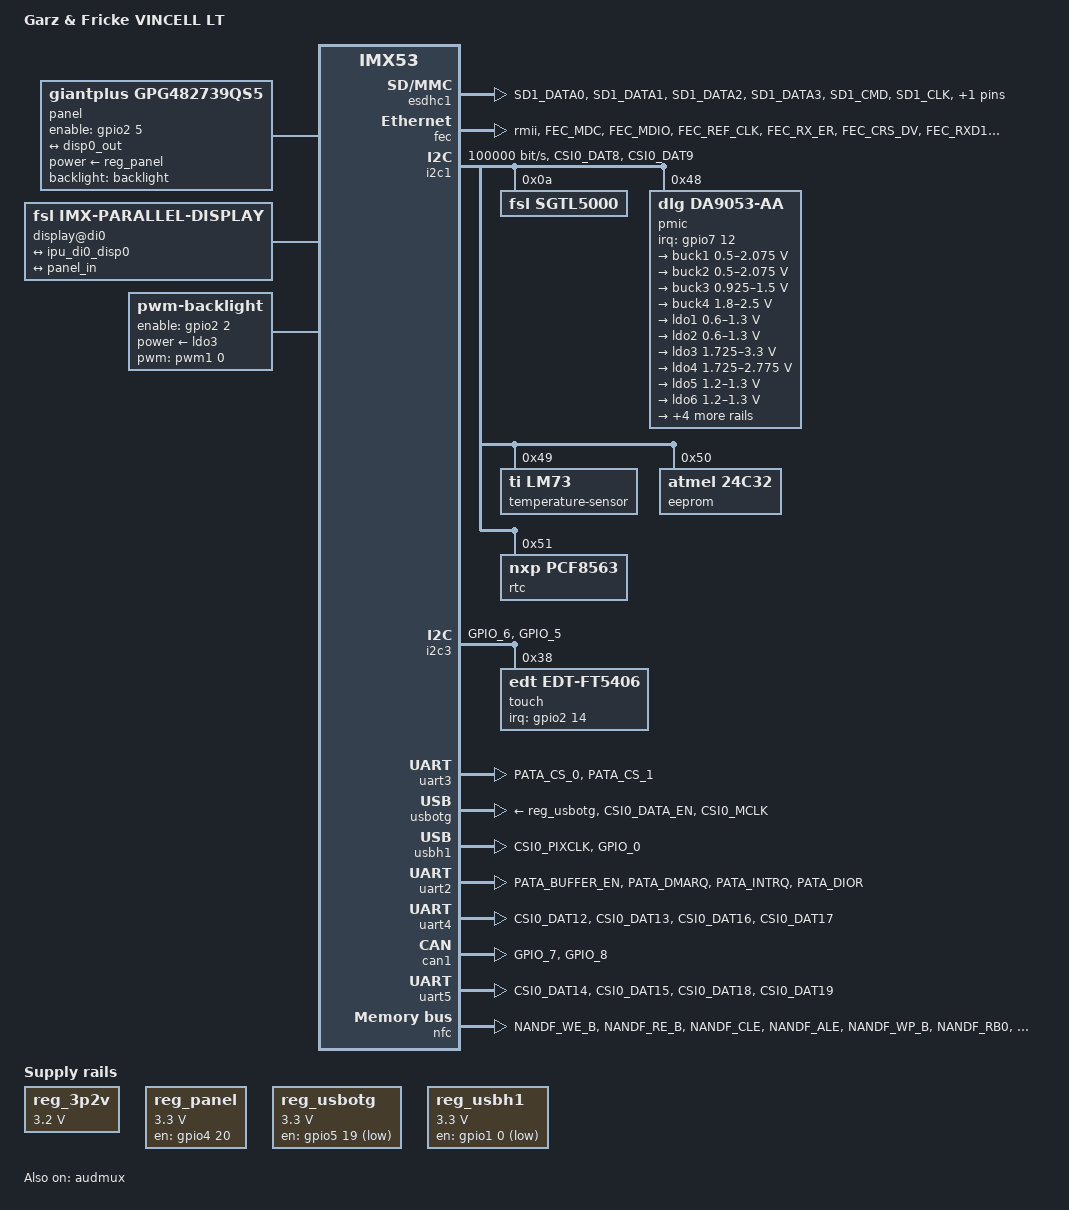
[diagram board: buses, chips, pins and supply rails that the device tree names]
/*
 * Copyright 2012 Pengutronix
 * Copyright 2011 Freescale Semiconductor, Inc.
 * Copyright 2011 Linaro Ltd.
 *
 * The code contained herein is licensed under the GNU General Public
 * License. You may obtain a copy of the GNU General Public License
 * Version 2 or later at the following locations:
 *
 * http://www.opensource.org/licenses/gpl-license.html
 * http://www.gnu.org/copyleft/gpl.html
 */

/dts-v1/;
#include "imx53.dtsi"
#include <arm/imx53.dtsi>
#include <dt-bindings/gpio/gpio.h>
#include <dt-bindings/interrupt-controller/irq.h>

/ {
	model = "Garz & Fricke VINCELL LT";
	compatible = "guf,imx53-vincell-lt", "fsl,imx53";

	chosen {
		stdout-path = &uart2;

		environment {
			compatible = "barebox,environment";
			device-path = &bareboxenv;
		};
	};

	clocks {
		ckih1 {
			clock-frequency = <0>;
		};
	};

	panel: panel {
		compatible = "giantplus,gpg482739qs5", "simple-panel";
		power-supply = <&reg_panel>;
		enable-gpios = <&gpio2 5 GPIO_ACTIVE_HIGH>;
		backlight = <&backlight>;

		port {
			panel_in: endpoint {
				remote-endpoint = <&disp0_out>;
			};
		};
	};

	display@di0 {
		compatible = "fsl,imx-parallel-display";
		pinctrl-names = "default";
		pinctrl-0 = <&pinctrl_disp0>;
		crtcs = <&ipu 0>;
		interface-pix-fmt = "bgr24";
		status = "okay";
		fsl,panel = <&panel>;

		port@0 {
			disp0_in: endpoint {
				remote-endpoint = <&ipu_di0_disp0>;
			};
		};

		port@1 {
			disp0_out: endpoint {
				remote-endpoint = <&panel_in>;
			};
		};
	};

	backlight: backlight {
		compatible = "pwm-backlight";
		pwms = <&pwm1 0 50000>;
		brightness-levels = <0 4 8 16 32 64 128 255>;
		default-brightness-level = <6>;
		power-supply = <&ldo3>;
		enable-gpios = <&gpio2 2 GPIO_ACTIVE_HIGH>;
		backlight-boot-off;
	};

	regulators {
		compatible = "simple-bus";

		reg_3p2v: 3p2v {
			compatible = "regulator-fixed";
			regulator-name = "3P2V";
			regulator-min-microvolt = <3200000>;
			regulator-max-microvolt = <3200000>;
			regulator-always-on;
		};

		reg_panel: vdd-panel {
			compatible = "regulator-fixed";
			regulator-name = "VDD_PANEL";
			regulator-min-microvolt = <3300000>;
			regulator-max-microvolt = <3300000>;
			gpio = <&gpio4 20 GPIO_ACTIVE_HIGH>;
			enable-active-high;
		};

		reg_usbotg: vbus-otg {
			compatible = "regulator-fixed";
			regulator-name = "VBUS_OTG";
			regulator-min-microvolt = <3300000>;
			regulator-max-microvolt = <3300000>;
			gpio = <&gpio5 19 GPIO_ACTIVE_HIGH>;
		};

		reg_usbh1: vbus-h1 {
			compatible = "regulator-fixed";
			regulator-name = "VBUS_H1";
			regulator-min-microvolt = <3300000>;
			regulator-max-microvolt = <3300000>;
			gpio = <&gpio1 0 GPIO_ACTIVE_LOW>;
		};
	};
};

&audmux {
	pinctrl-names = "default";
	pinctrl-0 = <&pinctrl_audmux>;
	status = "okay";
};

&esdhc1 {
	pinctrl-names = "default";
	pinctrl-0 = <&pinctrl_esdhc1>;
	cd-gpios = <&gpio2 6 GPIO_ACTIVE_HIGH>;
	status = "okay";
};

&fec {
	pinctrl-names = "default";
	pinctrl-0 = <&pinctrl_fec>;
	phy-mode = "rmii";
	phy-reset-gpios = <&gpio7 6 GPIO_ACTIVE_HIGH>;
	status = "okay";
};

&i2c1 {
	pinctrl-names = "default";
	pinctrl-0 = <&pinctrl_i2c1>;
	bitrate = <100000>;
	status = "okay";

	sgtl5000: codec@0a {
		compatible = "fsl,sgtl5000";
		reg = <0x0a>;
	};

	pmic: dialog@48 { /* DA9053-3HHA1 PMIC */
		compatible = "dlg,da9053-aa", "dlg,da9052";
		reg = <0x48>;
		interrupt-parent = <&gpio7>;
		interrupts = <12 IRQ_TYPE_LEVEL_LOW>;

		regulators {
			buck1 { /* CORE */
				regulator-min-microvolt = <500000>;
				regulator-max-microvolt = <2075000>;
				regulator-always-on;
				regulator-boot-on;
			};

			buck2 { /* PRO */
				regulator-min-microvolt = <500000>;
				regulator-max-microvolt = <2075000>;
				regulator-always-on;
				regulator-boot-on;
			};

			buck3 { /* MEM */
				regulator-min-microvolt = <925000>;
				regulator-max-microvolt = <1500000>;
				regulator-always-on;
				regulator-boot-on;
			};

			buck4 { /* PERI */
				regulator-min-microvolt = <1800000>;
				regulator-max-microvolt = <2500000>;
				regulator-always-on;
				regulator-boot-on;
			};

			ldo1 {
				regulator-min-microvolt = <600000>;
				regulator-max-microvolt = <1300000>;
				regulator-always-on;
				regulator-boot-on;
			};

			ldo2 {
				regulator-min-microvolt = <600000>;
				regulator-max-microvolt = <1300000>;
				regulator-always-on;
				regulator-boot-on;
			};

			ldo3: ldo3 {
				regulator-min-microvolt = <1725000>;
				regulator-max-microvolt = <3300000>;
				regulator-always-on;
				regulator-boot-on;
			};

			ldo4 {
				regulator-min-microvolt = <1725000>;
				regulator-max-microvolt = <2775000>;
				regulator-always-on;
				regulator-boot-on;
			};

			ldo5 {
				regulator-min-microvolt = <1200000>;
				regulator-max-microvolt = <1300000>;
				regulator-always-on;
				regulator-boot-on;
			};

			ldo6 {
				regulator-min-microvolt = <1200000>;
				regulator-max-microvolt = <1300000>;
				regulator-always-on;
				regulator-boot-on;
			};

			ldo7 {
				regulator-min-microvolt = <1200000>;
				regulator-max-microvolt = <2750000>;
				regulator-always-on;
				regulator-boot-on;
			};

			ldo8 {
				regulator-min-microvolt = <1200000>;
				regulator-max-microvolt = <1800000>;
				regulator-always-on;
				regulator-boot-on;
			};

			ldo9 {
				regulator-min-microvolt = <1250000>;
				regulator-max-microvolt = <1500000>;
				regulator-always-on;
				regulator-boot-on;
			};

			ldo10 {
				regulator-min-microvolt = <1200000>;
				regulator-max-microvolt = <1300000>;
				regulator-always-on;
				regulator-boot-on;
			};
		};
	};

	temperature-sensor@49 {
		compatible = "ti,lm73";
		reg = <0x49>;
	};

	eeprom@50 {
		compatible = "atmel,24c32", "st,m24c32";
		reg = <0x50>;
		pagesize = <1>;
		status = "okay";
	};

	rtc: nxp@51 {
		compatible = "nxp,pcf8563";
		reg = <0x51>;
	};
};

&i2c2 {
	pinctrl-names = "default";
	pinctrl-0 = <&pinctrl_i2c2>;
	bitrate = <100000>;
	status = "disabled";
};

&i2c3 {
	pinctrl-names = "default";
	pinctrl-0 = <&pinctrl_i2c3>;
	status = "okay";

	touch: edt-ft5x06@38 {
		compatible = "edt,edt-ft5406", "edt,edt-ft5x06";
		reg = <0x38>;
		interrupt-parent = <&gpio2>;
		interrupts = <14 0>;
	};
};

&ipu_di0_disp0 {
	remote-endpoint = <&disp0_in>;
};

/* RS485 --> X39 [13..14] */
&uart3 {
	pinctrl-names = "default";
	pinctrl-0 = <&pinctrl_uart3>;
	/* RTS via GPIO */
	fsl,uart-has-rtscts;
	rs485-enabled;
	gpio = <&gpio7 7 GPIO_ACTIVE_HIGH>;
	status = "okay";
};

&usbotg {
	pinctrl-names = "default";
	pinctrl-0 = <&pinctrl_usbotg>;
	vbus-supply = <&reg_usbotg>;
	status = "okay";
};

&usbh1 {
	pinctrl-names = "default";
	pinctrl-0 = <&pinctrl_usbh1>;
	status = "okay";
};

/* Serial debug console --> X39 [2..5] */
&uart2 {
	pinctrl-names = "default";
	pinctrl-0 = <&pinctrl_uart2>;
	status = "okay";
};

/* Serial debug console --> X11 [5..7] */
&uart4 {
	pinctrl-names = "default";
	pinctrl-0 = <&pinctrl_uart4>;
	status = "okay";
};

&can1 {
	pinctrl-names = "default";
	pinctrl-0 = <&pinctrl_can1>;
	status = "okay";
};

&uart5 {
	pinctrl-names = "default";
	pinctrl-0 = <&pinctrl_uart5>;
	status = "okay";
};

&nfc {
	#address-cells = <1>;
	#size-cells = <1>;
	pinctrl-names = "default";
	pinctrl-0 = <&pinctrl_nand>;
	nand-bus-width = <8>;
	nand-ecc-mode = "hw";
	nand-on-flash-bbt;
	status = "okay";

	partition@0 {
		label = "barebox";
		reg = <0x0 0xe0000>;
	};

	bareboxenv: partition@e0000 {
		label = "barebox-environment";
		reg = <0xe0000 0x20000>;
	};

	partition@100000 {
		label = "ubi";
		reg = <0x100000 0x0>;
	};
};

&iomuxc {
	pinctrl-names = "default";
	pinctrl-0 = <&pinctrl_hog>;

	imx53-vincell-lt {
		pinctrl_can1: can1grp {
			fsl,pins = <
				MX53_PAD_GPIO_7__CAN1_TXCAN		0x00000000
				MX53_PAD_GPIO_8__CAN1_RXCAN		0x000001c4
			>;
		};

		pinctrl_hog: hoggrp {
			fsl,pins = <
				MX53_PAD_EIM_A25__EMI_WEIM_A_25 	0x000000e4
				MX53_PAD_EIM_A22__EMI_WEIM_A_22 	0x000000e4
				MX53_PAD_EIM_D16__EMI_WEIM_D_16 	0x000000a4
				MX53_PAD_EIM_D17__EMI_WEIM_D_17 	0x000000a4
				MX53_PAD_EIM_D18__EMI_WEIM_D_18 	0x000000a4
				MX53_PAD_EIM_D19__EMI_WEIM_D_19 	0x000000a4
				MX53_PAD_EIM_D20__EMI_WEIM_D_20 	0x000000a4
				MX53_PAD_EIM_D21__EMI_WEIM_D_21 	0x000000a4
				MX53_PAD_EIM_D22__EMI_WEIM_D_22 	0x000000a4
				MX53_PAD_EIM_D23__EMI_WEIM_D_23 	0x000000a4
				MX53_PAD_EIM_D24__EMI_WEIM_D_24 	0x000000a4
				MX53_PAD_EIM_D25__EMI_WEIM_D_25 	0x000000a4
				MX53_PAD_EIM_D26__EMI_WEIM_D_26 	0x000000a4
				MX53_PAD_EIM_D27__EMI_WEIM_D_27 	0x000000a4
				MX53_PAD_EIM_D28__EMI_WEIM_D_28 	0x000000a4
				MX53_PAD_EIM_D29__EMI_WEIM_D_29 	0x000000a4
				MX53_PAD_EIM_D30__EMI_WEIM_D_30 	0x000000a4
				MX53_PAD_EIM_D31__EMI_WEIM_D_31 	0x000000a4
				MX53_PAD_EIM_A24__EMI_WEIM_A_24 	0x000001e4
				MX53_PAD_EIM_A23__EMI_WEIM_A_23 	0x000001e4
				MX53_PAD_EIM_A22__EMI_WEIM_A_22 	0x000000e4
				MX53_PAD_EIM_A21__EMI_WEIM_A_21 	0x000000e4
				MX53_PAD_EIM_A20__EMI_WEIM_A_20 	0x000000a4
				MX53_PAD_EIM_A19__EMI_WEIM_A_19 	0x000000a4
				MX53_PAD_EIM_A18__EMI_WEIM_A_18 	0x000000a4
				MX53_PAD_EIM_A17__EMI_WEIM_A_17 	0x000000a4
				MX53_PAD_EIM_A16__EMI_WEIM_A_16 	0x000000a4
				MX53_PAD_EIM_CS0__EMI_WEIM_CS_0 	0x000000a4
				MX53_PAD_EIM_CS1__EMI_WEIM_CS_1 	0x000000e4
				MX53_PAD_EIM_OE__EMI_WEIM_OE		0x000000a4
				MX53_PAD_EIM_RW__EMI_WEIM_RW		0x000000a4
				MX53_PAD_EIM_LBA__EMI_WEIM_LBA		0x000000e4
				MX53_PAD_EIM_EB0__EMI_WEIM_EB_0 	0x000000a4
				MX53_PAD_EIM_EB1__EMI_WEIM_EB_1 	0x000000a4
				MX53_PAD_EIM_EB2__EMI_WEIM_EB_2 	0x000001e4
				MX53_PAD_EIM_EB3__EMI_WEIM_EB_3 	0x000001e4
				MX53_PAD_EIM_WAIT__EMI_WEIM_WAIT	0x000000e0
				MX53_PAD_LVDS0_TX3_P__GPIO7_22		0x80000000
				MX53_PAD_LVDS0_CLK_P__GPIO7_24		0x80000000
				MX53_PAD_LVDS0_TX2_P__GPIO7_26		0x80000000
				MX53_PAD_LVDS0_TX1_P__GPIO7_28		0x80000000
				MX53_PAD_LVDS0_TX0_P__GPIO7_30		0x80000000
				MX53_PAD_GPIO_1__GPIO1_1		0x000001c4
				MX53_PAD_GPIO_2__GPIO1_2		0x000001c4
				MX53_PAD_GPIO_10__GPIO4_0		0x000005e5
				MX53_PAD_GPIO_11__GPIO4_1		0x000005c5
				MX53_PAD_GPIO_12__GPIO4_2		0x000005e5
				MX53_PAD_GPIO_13__GPIO4_3		0x000005e5
				MX53_PAD_GPIO_14__GPIO4_4		0x000005e5
				MX53_PAD_GPIO_16__GPIO7_11		0x000001c4
				MX53_PAD_KEY_ROW2__GPIO4_11		0x000001e4
				MX53_PAD_PATA_DATA8__GPIO2_8		0x000001e4
				MX53_PAD_PATA_DATA12__PATA_DATA_12	0x000001e4
				MX53_PAD_PATA_DA_0__PATA_DA_0		0x000001e4

				/* UART5: MDB --> X39 [2..5] (shared with RS232) */
				MX53_PAD_PATA_DATA9__GPIO2_9		0x00000000	/* MDB_WAKEUP_OUT */

				/* UART3: RS485 --> X39 */
				MX53_PAD_PATA_DA_1__GPIO7_7		0x00000000	/* RS485_TX_EN */

				MX53_PAD_PATA_DATA4__GPIO2_4		0x00000000	/* FEC_nINT */

				/* LCD panel */
				MX53_PAD_DI0_PIN4__GPIO4_20		0x000004c4	/* lcd power */
				MX53_PAD_PATA_DATA2__GPIO2_2		0x00000000	/* backlight power */
				MX53_PAD_PATA_DATA5__GPIO2_5		0x00000020	/* lcd enable */
				MX53_PAD_GPIO_9__PWM1_PWMO		0x00000000	/* LCD backlight PWM1 out */

				/* ESDHC1 */
				MX53_PAD_PATA_DATA6__GPIO2_6		0x00000000	/* ESDHC1 CD */

				/* I2C system bus */
				/* MX53_PAD_CSI0_DAT8__GPIO5_26		0x00000000 */
				/* MX53_PAD_CSI0_DAT9__GPIO5_27	*/

				/* I2C external touch interface, disabled */
				/* MX53_PAD_GPIO_5__GPIO1_50x80000000 */
				/* MX53_PAD_GPIO_6__GPIO1_60x80000000 */

				/* External Touch */
				MX53_PAD_PATA_DATA13__GPIO2_13		0x00000000	/* TOUCH_RESET */
				MX53_PAD_PATA_DATA14__GPIO2_14		0x00000000	/* TOUCH_INT */
				MX53_PAD_PATA_DATA15__GPIO2_15		0x00000000	/* TOUCH_WAKE */

				/* Audio */
				MX53_PAD_PATA_DATA7__GPIO2_7 		0x00000000	/* Speaker on */

				/* Clockout for external USB-phy and audiocodec */
				MX53_PAD_GPIO_3__CCM_CLKO2 		0x00000000

				/* GPIOs on keypad connector (X21) */
				MX53_PAD_CSI0_DAT11__GPIO5_29		0x00000000	/* Pin 3 */
				MX53_PAD_PATA_DIOW__GPIO6_17		0x00000000	/* Pin 4 */
				MX53_PAD_SD2_CMD__GPIO1_11		0x00000000	/* Pin 5 */
				MX53_PAD_PATA_DMACK__GPIO6_18		0x00000000	/* Pin 6 */
				MX53_PAD_CSI0_DAT7__GPIO5_25		0x00000000	/* Pin 7 */
				MX53_PAD_GPIO_4__GPIO1_4		0x00000000	/* Pin 8 */
				MX53_PAD_KEY_ROW4__GPIO4_15		0x00000000	/* Pin 9 */
				MX53_PAD_KEY_COL4__GPIO4_14		0x00000000	/* Pin 10 */
				MX53_PAD_KEY_ROW3__GPIO4_13		0x00000000	/* Pin 11 */
				MX53_PAD_KEY_COL3__GPIO4_12		0x00000000	/* Pin 12 */
				MX53_PAD_GPIO_19__GPIO4_5		0x00000000	/* Pin 13 */
				MX53_PAD_KEY_COL2__GPIO4_10		0x00000000	/* Pin 14 */
				MX53_PAD_KEY_COL1__GPIO4_8		0x00000000	/* Pin 15 */
				MX53_PAD_KEY_ROW0__GPIO4_7		0x00000000	/* Pin 16 */
				MX53_PAD_KEY_COL0__GPIO4_6		0x00000000	/* Pin 17 */
				MX53_PAD_KEY_ROW1__GPIO4_9		0x00000000	/* Pin 18 */

				MX53_PAD_GPIO_17__GPIO7_12		0x000000e0	/* PMIC_nIRQ, 100 KOhm pull up */
			>;
		};

		pinctrl_disp0: disp0grp {
			fsl,pins = <
				MX53_PAD_DI0_DISP_CLK__IPU_DI0_DISP_CLK	0x000004c1
				MX53_PAD_DI0_PIN15__IPU_DI0_PIN15	0x000004c1
				MX53_PAD_DI0_PIN2__IPU_DI0_PIN2		0x000004c5
				MX53_PAD_DI0_PIN3__IPU_DI0_PIN3		0x000004c5
				MX53_PAD_DISP0_DAT0__IPU_DISP0_DAT_0	0x000004c3
				MX53_PAD_DISP0_DAT1__IPU_DISP0_DAT_1	0x000004c3
				MX53_PAD_DISP0_DAT2__IPU_DISP0_DAT_2	0x000004c3
				MX53_PAD_DISP0_DAT3__IPU_DISP0_DAT_3	0x000004c3
				MX53_PAD_DISP0_DAT4__IPU_DISP0_DAT_4	0x000004c3
				MX53_PAD_DISP0_DAT5__IPU_DISP0_DAT_5	0x000004c3
				MX53_PAD_DISP0_DAT6__IPU_DISP0_DAT_6	0x000004c3
				MX53_PAD_DISP0_DAT7__IPU_DISP0_DAT_7	0x000004c3
				MX53_PAD_DISP0_DAT8__IPU_DISP0_DAT_8	0x000004c3
				MX53_PAD_DISP0_DAT9__IPU_DISP0_DAT_9	0x000004c3
				MX53_PAD_DISP0_DAT10__IPU_DISP0_DAT_10	0x000004c3
				MX53_PAD_DISP0_DAT11__IPU_DISP0_DAT_11	0x000004c3
				MX53_PAD_DISP0_DAT12__IPU_DISP0_DAT_12	0x000004c3
				MX53_PAD_DISP0_DAT13__IPU_DISP0_DAT_13	0x000004c3
				MX53_PAD_DISP0_DAT14__IPU_DISP0_DAT_14	0x000004c3
				MX53_PAD_DISP0_DAT15__IPU_DISP0_DAT_15	0x000004c3
				MX53_PAD_DISP0_DAT16__IPU_DISP0_DAT_16	0x000004c3
				MX53_PAD_DISP0_DAT17__IPU_DISP0_DAT_17	0x000004c3
				MX53_PAD_DISP0_DAT18__IPU_DISP0_DAT_18	0x000004c3
				MX53_PAD_DISP0_DAT19__IPU_DISP0_DAT_19	0x000004c3
				MX53_PAD_DISP0_DAT20__IPU_DISP0_DAT_20	0x000004c3
				MX53_PAD_DISP0_DAT21__IPU_DISP0_DAT_21	0x000004c3
				MX53_PAD_DISP0_DAT22__IPU_DISP0_DAT_22	0x000004c3
				MX53_PAD_DISP0_DAT23__IPU_DISP0_DAT_23	0x000004c3
			>;
		};

		pinctrl_nand: nandgrp {
			fsl,pins = <
				MX53_PAD_NANDF_WE_B__EMI_NANDF_WE_B	0x00000004
				MX53_PAD_NANDF_RE_B__EMI_NANDF_RE_B	0x00000004
				MX53_PAD_NANDF_CLE__EMI_NANDF_CLE	0x00000004
				MX53_PAD_NANDF_ALE__EMI_NANDF_ALE	0x00000004
				MX53_PAD_NANDF_WP_B__EMI_NANDF_WP_B	0x000000e4
				MX53_PAD_NANDF_RB0__EMI_NANDF_RB_0	0x000000e0
				MX53_PAD_NANDF_CS0__EMI_NANDF_CS_0	0x00000004
				MX53_PAD_NANDF_CS1__EMI_NANDF_CS_1	0x000001e4
				MX53_PAD_NANDF_CS2__EMI_NANDF_CS_2	0x000001e4
				MX53_PAD_NANDF_CS3__EMI_NANDF_CS_3	0x000001e4

				MX53_PAD_EIM_DA0__EMI_NAND_WEIM_DA_0	0x000000a4
				MX53_PAD_EIM_DA1__EMI_NAND_WEIM_DA_1	0x000000a4
				MX53_PAD_EIM_DA2__EMI_NAND_WEIM_DA_2	0x000000a4
				MX53_PAD_EIM_DA3__EMI_NAND_WEIM_DA_3	0x000000a4
				MX53_PAD_EIM_DA4__EMI_NAND_WEIM_DA_4	0x000000a4
				MX53_PAD_EIM_DA5__EMI_NAND_WEIM_DA_5	0x000000a4
				MX53_PAD_EIM_DA6__EMI_NAND_WEIM_DA_6	0x000000a4
				MX53_PAD_EIM_DA7__EMI_NAND_WEIM_DA_7	0x000000a4
				MX53_PAD_EIM_DA8__EMI_NAND_WEIM_DA_8	0x000000e4
				MX53_PAD_EIM_DA9__EMI_NAND_WEIM_DA_9	0x000000e4
				MX53_PAD_EIM_DA10__EMI_NAND_WEIM_DA_10	0x000000e4
				MX53_PAD_EIM_DA11__EMI_NAND_WEIM_DA_11	0x000000e4
				MX53_PAD_EIM_DA12__EMI_NAND_WEIM_DA_12	0x000000e4
				MX53_PAD_EIM_DA13__EMI_NAND_WEIM_DA_13	0x000000e4
				MX53_PAD_EIM_DA14__EMI_NAND_WEIM_DA_14	0x000000e4
				MX53_PAD_EIM_DA15__EMI_NAND_WEIM_DA_15	0x000000e4
			>;
		};

		pinctrl_usbh1: usbh1grp {
			fsl,pins = <
				MX53_PAD_CSI0_PIXCLK__GPIO5_18		0x00000000	/* OC */
				MX53_PAD_GPIO_0__USBOH3_USBH1_PWR	0x00000000	/* PWR_EN */
			>;
		};

		pinctrl_usbotg: usbotggrp {
			fsl,pins = <
				MX53_PAD_CSI0_DATA_EN__GPIO5_20		0x00000084	/* OC */
				/* can not be used, odd transistor logic */
				MX53_PAD_CSI0_MCLK__GPIO5_19		0x00000000	/* PWR_EN */
			>;
		};

		pinctrl_esdhc1: esdhc1grp {
			fsl,pins = <
				MX53_PAD_SD1_DATA0__ESDHC1_DAT0		0x1d5
				MX53_PAD_SD1_DATA1__ESDHC1_DAT1		0x1d5
				MX53_PAD_SD1_DATA2__ESDHC1_DAT2		0x1d5
				MX53_PAD_SD1_DATA3__ESDHC1_DAT3		0x1d5
				MX53_PAD_SD1_CMD__ESDHC1_CMD		0x1d5
				MX53_PAD_SD1_CLK__ESDHC1_CLK		0x1d5
			>;
		};

		pinctrl_uart3: uart3grp {
			fsl,pins = <
				MX53_PAD_PATA_CS_0__UART3_TXD_MUX	0x1c5
				MX53_PAD_PATA_CS_1__UART3_RXD_MUX 	0x1c5
			>;
		};

		pinctrl_uart2: uart2grp {
			fsl,pins = <
				MX53_PAD_PATA_BUFFER_EN__UART2_RXD_MUX	0x1c5
				MX53_PAD_PATA_DMARQ__UART2_TXD_MUX	0x1c5
				MX53_PAD_PATA_INTRQ__UART2_CTS		0x1c5
				MX53_PAD_PATA_DIOR__UART2_RTS		0x1c5
			>;
		};

		pinctrl_i2c1: i2c1grp {
			fsl,pins = <
				MX53_PAD_CSI0_DAT8__I2C1_SDA		0xc0000000
				MX53_PAD_CSI0_DAT9__I2C1_SCL		0xc0000000
			>;
		};

		pinctrl_i2c2: i2c2grp {
			fsl,pins = <
				MX53_PAD_KEY_ROW3__I2C2_SDA		0xc0000000
				MX53_PAD_KEY_COL3__I2C2_SCL		0xc0000000
			>;
		};

		pinctrl_audmux: audmuxgrp {
			fsl,pins = <
				MX53_PAD_SD2_DATA0__AUDMUX_AUD4_RXD	0x80000000
				MX53_PAD_SD2_DATA1__AUDMUX_AUD4_TXFS	0x80000000
				MX53_PAD_SD2_DATA2__AUDMUX_AUD4_TXD	0x80000000
				MX53_PAD_SD2_DATA3__AUDMUX_AUD4_TXC	0x80000000
			>;
		};

		pinctrl_fec: fecgrp {
			fsl,pins = <
				MX53_PAD_FEC_MDC__FEC_MDC		0x80000000
				MX53_PAD_FEC_MDIO__FEC_MDIO		0x80000000
				MX53_PAD_FEC_REF_CLK__FEC_TX_CLK	0x80000000
				MX53_PAD_FEC_RX_ER__FEC_RX_ER		0x80000000
				MX53_PAD_FEC_CRS_DV__FEC_RX_DV		0x80000000
				MX53_PAD_FEC_RXD1__FEC_RDATA_1		0x80000000
				MX53_PAD_FEC_RXD0__FEC_RDATA_0		0x80000000
				MX53_PAD_FEC_TX_EN__FEC_TX_EN		0x80000000
				MX53_PAD_FEC_TXD1__FEC_TDATA_1		0x80000000
				MX53_PAD_FEC_TXD0__FEC_TDATA_0		0x80000000
			>;
		};

		pinctrl_uart5: uart5grp {
			 fsl,pins = <
				 MX53_PAD_CSI0_DAT14__UART5_TXD_MUX 0x1c5
				 MX53_PAD_CSI0_DAT15__UART5_RXD_MUX 0x1c5
				 MX53_PAD_CSI0_DAT18__UART5_RTS     0x1c5
				 MX53_PAD_CSI0_DAT19__UART5_CTS     0x1c5
				 >;
		};

		pinctrl_i2c3: i2c3grp {
			 fsl,pins = <
				 MX53_PAD_GPIO_6__I2C3_SDA 0xc0000000
				 MX53_PAD_GPIO_5__I2C3_SCL 0xc0000000
			 >;
		};

		pinctrl_uart4: uart4grp {
			fsl,pins = <
				MX53_PAD_CSI0_DAT12__UART4_TXD_MUX 0x1c5
				MX53_PAD_CSI0_DAT13__UART4_RXD_MUX 0x1c5
				MX53_PAD_CSI0_DAT16__UART4_RTS     0x1c5
				MX53_PAD_CSI0_DAT17__UART4_CTS     0x1c5
			>;
		};
	};
};
